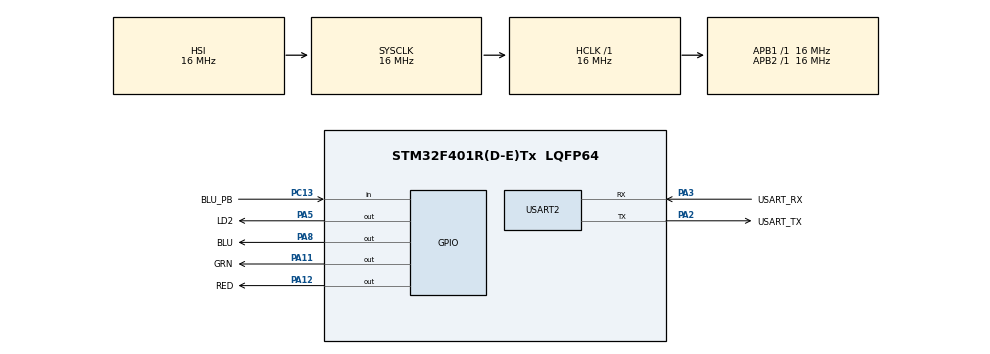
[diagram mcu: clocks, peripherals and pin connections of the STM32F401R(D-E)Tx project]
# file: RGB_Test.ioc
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Mcu.Family=STM32F4
Mcu.Name=STM32F401R(D-E)Tx
Mcu.Package=LQFP64
NVIC.PriorityGroup=NVIC_PRIORITYGROUP_0
PA11.GPIO_Label=GRN
PA11.Signal=GPIO_Output
PA12.GPIO_Label=RED
PA12.Signal=GPIO_Output
PA13.GPIO_Label=TMS
PA13.Mode=Serial_Wire
PA13.Signal=SYS_JTMS-SWDIO
PA14.GPIO_Label=TCK
PA14.Mode=Serial_Wire
PA14.Signal=SYS_JTCK-SWCLK
PA2.GPIO_Label=USART_TX
PA2.GPIO_Mode=GPIO_MODE_AF_PP
PA2.GPIO_PuPd=GPIO_NOPULL
PA2.GPIO_Speed=GPIO_SPEED_FREQ_LOW
PA2.Mode=Asynchronous
PA2.Signal=USART2_TX
PA3.GPIO_Label=USART_RX
PA3.GPIO_Mode=GPIO_MODE_AF_PP
PA3.GPIO_PuPd=GPIO_NOPULL
PA3.GPIO_Speed=GPIO_SPEED_FREQ_LOW
PA3.Mode=Asynchronous
PA3.Signal=USART2_RX
PA5.GPIO_Label=LD2
PA5.Signal=GPIO_Output
PA8.GPIO_Label=BLU
PA8.Signal=GPIO_Output
PB3.GPIO_Label=SWO
PB3.Signal=SYS_JTDO-SWO
PC13-ANTI_TAMP.GPIO_Label=BLU_PB
PC13-ANTI_TAMP.Signal=GPIO_Input
PC14-OSC32_IN.Mode=LSE-External-Oscillator
PC14-OSC32_IN.Signal=RCC_OSC32_IN
PC15-OSC32_OUT.Mode=LSE-External-Oscillator
PC15-OSC32_OUT.Signal=RCC_OSC32_OUT
PH0\ -\ OSC_IN.Mode=HSE-External-Clock-Source
PH0\ -\ OSC_IN.Signal=RCC_OSC_IN
PH1\ -\ OSC_OUT.Mode=HSE-External-Clock-Source
PH1\ -\ OSC_OUT.Signal=RCC_OSC_OUT
ProjectManager.HeapSize=0x200
ProjectManager.StackSize=0x400
ProjectManager.TargetToolchain=STM32CubeIDE
RCC.48MHZClocksFreq_Value=48000000
RCC.AHBFreq_Value=16000000
RCC.APB1Freq_Value=16000000
RCC.APB1TimFreq_Value=16000000
RCC.APB2Freq_Value=16000000
RCC.APB2TimFreq_Value=16000000
RCC.CortexFreq_Value=16000000
RCC.HCLKFreq_Value=16000000
RCC.HSE_VALUE=8000000
RCC.HSI_VALUE=16000000
RCC.PLLN=336
RCC.PLLP=RCC_PLLP_DIV4
RCC.PLLQ=7
RCC.SYSCLKFreq_VALUE=16000000
RCC.VCOOutputFreq_Value=336000000
USART2.VirtualMode=VM_ASYNC
board=NUCLEO-F401RE

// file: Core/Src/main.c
/* USER CODE BEGIN Header */
/**
  ******************************************************************************
  * @file           : main.c
  * @brief          : Main program body
  ******************************************************************************
  * @attention
  *
  * Copyright (c) 2024 STMicroelectronics.
  * All rights reserved.
  *
  * This software is licensed under terms that can be found in the LICENSE file
  * in the root directory of this software component.
  * If no LICENSE file comes with this software, it is provided AS-IS.
  *
  ******************************************************************************
  */
/* USER CODE END Header */
#include "main.h"

UART_HandleTypeDef huart2;

void SystemClock_Config(void);
static void MX_GPIO_Init(void);
static void MX_USART2_UART_Init(void);

int main(void)
{

  /* MCU Configuration--------------------------------------------------------*/

  /* Reset of all peripherals, Initializes the Flash interface and the Systick. */
  HAL_Init();

  /* Configure the system clock */
  SystemClock_Config();

  /* Initialize all configured peripherals */
  MX_GPIO_Init();
  MX_USART2_UART_Init();
  /* USER CODE BEGIN 2 */
  /* Variable to track button state */
  GPIO_PinState buttonState = GPIO_PIN_RESET;
  /* USER CODE END 2 */

  /* Infinite loop */
  /* USER CODE BEGIN WHILE */
  while (1)
  {
	  /* Read the state of the blue push button */
	  buttonState = HAL_GPIO_ReadPin(BLU_PB_GPIO_Port, BLU_PB_Pin);

	  /* Check if button is pressed */
	  if (buttonState == GPIO_PIN_SET) {
		/* If button is pressed, toggle LD2 LED */
		HAL_GPIO_TogglePin(GPIOA, LD2_Pin);
		HAL_Delay(200);
	  } else {
	    /* Turn on red LED */
	    HAL_GPIO_WritePin(GPIOA, RED_Pin, GPIO_PIN_SET);
	    HAL_GPIO_WritePin(GPIOA, GRN_Pin, GPIO_PIN_RESET);
	    HAL_GPIO_WritePin(GPIOA, BLU_Pin, GPIO_PIN_RESET);
	    HAL_Delay(1000);

	    /* Turn on green LED */
	    HAL_GPIO_WritePin(GPIOA, RED_Pin, GPIO_PIN_RESET);
	    HAL_GPIO_WritePin(GPIOA, GRN_Pin, GPIO_PIN_SET);
	    HAL_GPIO_WritePin(GPIOA, BLU_Pin, GPIO_PIN_RESET);
	    HAL_Delay(1000);

	    /* Turn on blue LED */
	    HAL_GPIO_WritePin(GPIOA, RED_Pin, GPIO_PIN_RESET);
	    HAL_GPIO_WritePin(GPIOA, GRN_Pin, GPIO_PIN_RESET);
	    HAL_GPIO_WritePin(GPIOA, BLU_Pin, GPIO_PIN_SET);
	    HAL_Delay(1000);

	    /* Turn OFF LEDs */
	    HAL_GPIO_WritePin(GPIOA, RED_Pin, GPIO_PIN_RESET);
	    HAL_GPIO_WritePin(GPIOA, GRN_Pin, GPIO_PIN_RESET);
	    HAL_GPIO_WritePin(GPIOA, BLU_Pin, GPIO_PIN_RESET);
	    HAL_Delay(1000);
	  }
    /* USER CODE END WHILE */

  }
}

void SystemClock_Config(void)
{
  RCC_OscInitTypeDef RCC_OscInitStruct = {0};
  RCC_ClkInitTypeDef RCC_ClkInitStruct = {0};

  /** Configure the main internal regulator output voltage
  */
  __HAL_RCC_PWR_CLK_ENABLE();
  __HAL_PWR_VOLTAGESCALING_CONFIG(PWR_REGULATOR_VOLTAGE_SCALE2);

  /** Initializes the RCC Oscillators according to the specified parameters
  * in the RCC_OscInitTypeDef structure.
  */
  RCC_OscInitStruct.OscillatorType = RCC_OSCILLATORTYPE_HSI;
  RCC_OscInitStruct.HSIState = RCC_HSI_ON;
  RCC_OscInitStruct.HSICalibrationValue = RCC_HSICALIBRATION_DEFAULT;
  RCC_OscInitStruct.PLL.PLLState = RCC_PLL_NONE;
  if (HAL_RCC_OscConfig(&RCC_OscInitStruct) != HAL_OK)
  {
    Error_Handler();
  }

  /** Initializes the CPU, AHB and APB buses clocks
  */
  RCC_ClkInitStruct.ClockType = RCC_CLOCKTYPE_HCLK|RCC_CLOCKTYPE_SYSCLK
                              |RCC_CLOCKTYPE_PCLK1|RCC_CLOCKTYPE_PCLK2;
  RCC_ClkInitStruct.SYSCLKSource = RCC_SYSCLKSOURCE_HSI;
  RCC_ClkInitStruct.AHBCLKDivider = RCC_SYSCLK_DIV1;
  RCC_ClkInitStruct.APB1CLKDivider = RCC_HCLK_DIV1;
  RCC_ClkInitStruct.APB2CLKDivider = RCC_HCLK_DIV1;

  if (HAL_RCC_ClockConfig(&RCC_ClkInitStruct, FLASH_LATENCY_0) != HAL_OK)
  {
    Error_Handler();
  }
}

static void MX_USART2_UART_Init(void)
{

  huart2.Instance = USART2;
  huart2.Init.BaudRate = 115200;
  huart2.Init.WordLength = UART_WORDLENGTH_8B;
  huart2.Init.StopBits = UART_STOPBITS_1;
  huart2.Init.Parity = UART_PARITY_NONE;
  huart2.Init.Mode = UART_MODE_TX_RX;
  huart2.Init.HwFlowCtl = UART_HWCONTROL_NONE;
  huart2.Init.OverSampling = UART_OVERSAMPLING_16;
  if (HAL_UART_Init(&huart2) != HAL_OK)
  {
    Error_Handler();
  }

}

static void MX_GPIO_Init(void)
{
  GPIO_InitTypeDef GPIO_InitStruct = {0};

  /* GPIO Ports Clock Enable */
  __HAL_RCC_GPIOC_CLK_ENABLE();
  __HAL_RCC_GPIOH_CLK_ENABLE();
  __HAL_RCC_GPIOA_CLK_ENABLE();
  __HAL_RCC_GPIOB_CLK_ENABLE();

  /*Configure GPIO pin Output Level */
  HAL_GPIO_WritePin(GPIOA, LD2_Pin|BLU_Pin|GRN_Pin|RED_Pin, GPIO_PIN_RESET);

  /*Configure GPIO pin : BLU_PB_Pin */
  GPIO_InitStruct.Pin = BLU_PB_Pin;
  GPIO_InitStruct.Mode = GPIO_MODE_INPUT;
  GPIO_InitStruct.Pull = GPIO_NOPULL;
  HAL_GPIO_Init(BLU_PB_GPIO_Port, &GPIO_InitStruct);

  /*Configure GPIO pins : LD2_Pin BLU_Pin GRN_Pin RED_Pin */
  GPIO_InitStruct.Pin = LD2_Pin|BLU_Pin|GRN_Pin|RED_Pin;
  GPIO_InitStruct.Mode = GPIO_MODE_OUTPUT_PP;
  GPIO_InitStruct.Pull = GPIO_NOPULL;
  GPIO_InitStruct.Speed = GPIO_SPEED_FREQ_LOW;
  HAL_GPIO_Init(GPIOA, &GPIO_InitStruct);

}

void Error_Handler(void)
{
  __disable_irq();
  while (1)
  {
  }
}
